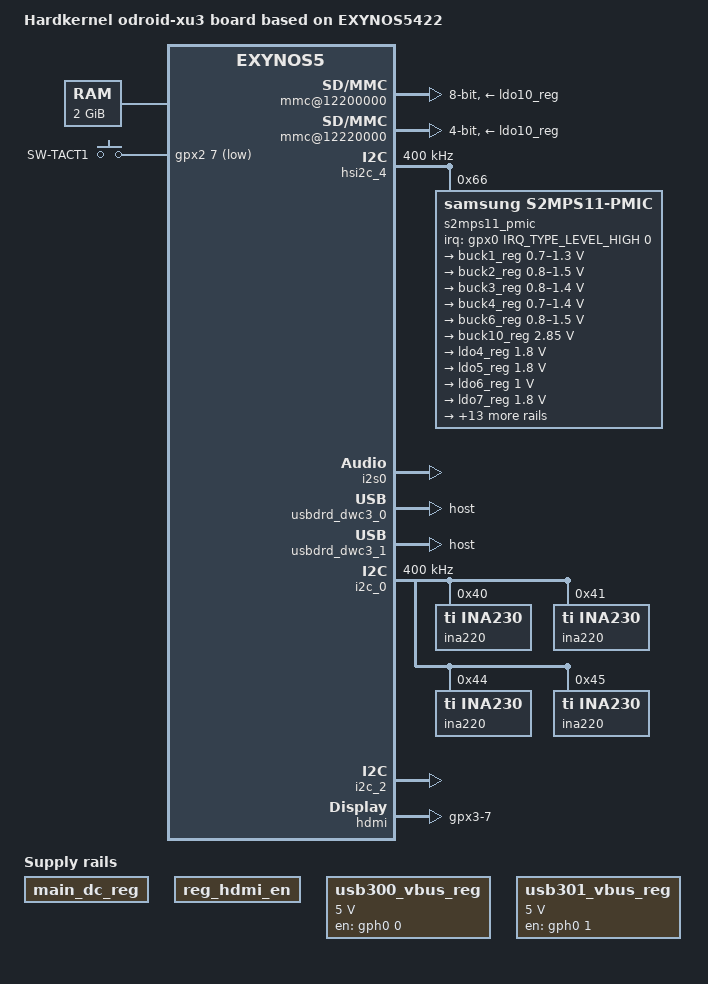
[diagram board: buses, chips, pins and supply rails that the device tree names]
/*
 * Samsung's Exynos5422 based Odroid XU3 device tree source
 *
 * Copyright (c) 2013 Samsung Electronics Co., Ltd.
 *		http://www.samsung.com
 *
 * This program is free software; you can redistribute it and/or modify
 * it under the terms of the GNU General Public License version 2 as
 * published by the Free Software Foundation.
*/

/dts-v1/;
#include "exynos5422.dtsi"
#include <dt-bindings/interrupt-controller/irq.h>
#include <dt-bindings/gpio/gpio.h>
#include <dt-bindings/input/input.h>
#include <dt-bindings/gpio/gpio.h>

/ {
	model = "Hardkernel odroid-xu3 board based on EXYNOS5422";
	compatible = "Hardkernel,odroid-xu3", "samsung,exynos5420", "samsung,exynos5";

	memory {
		reg = <0x20000000 0x80000000>;
	};

	chosen {
		bootargs = "console=ttySAC3,115200";
	};

	firmware@02073000 {
		compatible = "samsung,secure-firmware";
		reg = <0x02073000 0x1000>;
	};

	fixed-rate-clocks {
		oscclk {
			compatible = "samsung,exynos5420-oscclk";
			clock-frequency = <24000000>;
		};
	};

	regulators {
		compatible = "simple-bus";
		#address-cells = <1>;
		#size-cells = <0>;

		main_dc_reg: regulator@0 {
			compatible = "regulator-fixed";
			reg = <0>;
			regulator-name = "MAIN_DC";
		};

		reg_hdmi_en: regulator@1 {
			compatible = "regulator-fixed";
			reg = <2>;
			regulator-name = "hdmi-en";
		};
	};

	rtc@101E0000 {
		status = "okay";
	};

	codec@11000000 {
		samsung,mfc-r = <0x43000000 0x800000>;
		samsung,mfc-l = <0x51000000 0x800000>;
	};

	pinctrl@13400000 {
		hdmi_hpd_irq: hdmi-hpd-irq {
			samsung,pins = "gpx3-7";
			samsung,pin-function = <0>;
			samsung,pin-pud = <1>;
			samsung,pin-drv = <0>;
		};
	};

	mmc@12200000 {
		status = "okay";
		broken-cd;
		card-detect-delay = <200>;
		samsung,dw-mshc-ciu-div = <3>;
		samsung,dw-mshc-sdr-timing = <0 4>;
		samsung,dw-mshc-ddr-timing = <0 2>;
		pinctrl-names = "default";
		pinctrl-0 = <&sd0_clk &sd0_cmd &sd0_bus4 &sd0_bus8>;
		vmmc-supply = <&ldo10_reg>;
		bus-width = <8>;
		cap-mmc-highspeed;
		dw-mshc-hw-reset = <&gpd1 0 0>;
	};

	mmc@12220000 {
		status = "okay";
		card-detect-delay = <200>;
		samsung,dw-mshc-ciu-div = <3>;
		samsung,dw-mshc-sdr-timing = <2 3>;
		samsung,dw-mshc-ddr-timing = <1 2>;
		pinctrl-names = "default";
		pinctrl-0 = <&sd2_clk &sd2_cmd &sd2_cd &sd2_bus4>;
		vmmc-supply = <&ldo10_reg>;
		bus-width = <4>;
		cap-sd-highspeed;
	};

	usb300_vbus_reg: regulator-usb300 {
		compatible = "regulator-fixed";
		regulator-name = "P5.0V_USB3CON0";
		regulator-min-microvolt = <5000000>;
		regulator-max-microvolt = <5000000>;
		gpio = <&gph0 0 0>;
		pinctrl-names = "default";
		pinctrl-0 = <&usb300_vbus_en>;
		enable-active-high;
	};

	usb301_vbus_reg: regulator-usb301 {
		compatible = "regulator-fixed";
		regulator-name = "P5.0V_USB3CON1";
		regulator-min-microvolt = <5000000>;
		regulator-max-microvolt = <5000000>;
		gpio = <&gph0 1 0>;
		pinctrl-names = "default";
		pinctrl-0 = <&usb301_vbus_en>;
		enable-active-high;
	};


	pinctrl_0: pinctrl@13400000 {
		max98090_irq: max98090-irq {
			samsung,pins = "gpx0-2";
			samsung,pin-function = <0>;
			samsung,pin-pud = <0>;
			samsung,pin-drv = <0>;
		};

		tpm_irq: tpm-irq {
			samsung,pins = "gpx1-0";
			samsung,pin-function = <0>;
			samsung,pin-pud = <0>;
			samsung,pin-drv = <0>;
		};

		power_key_irq: power-key-irq {
			samsung,pins = "gpx1-2";
			samsung,pin-function = <0>;
			samsung,pin-pud = <0>;
			samsung,pin-drv = <0>;
		};

		hdmi_hpd_irq: hdmi-hpd-irq {
			samsung,pins = "gpx3-7";
			samsung,pin-function = <0>;
			samsung,pin-pud = <1>;
			samsung,pin-drv = <0>;
		};

		dp_hpd_gpio: dp_hpd_gpio {
			samsung,pins = "gpx2-6";
			samsung,pin-function = <0>;
			samsung,pin-pud = <3>;
			samsung,pin-drv = <0>;
		};
	};

	pinctrl_3: pinctrl@14010000 {
		usb300_vbus_en: usb300-vbus-en {
			samsung,pins = "gph0-0";
			samsung,pin-function = <1>;
			samsung,pin-pud = <0>;
			samsung,pin-drv = <0>;
		};

		usb301_vbus_en: usb301-vbus-en {
			samsung,pins = "gph0-1";
			samsung,pin-function = <1>;
			samsung,pin-pud = <0>;
			samsung,pin-drv = <0>;
		};
	};

	hsi2c_4: i2c@12CA0000 {
		samsung,hs-mode;
		clock-frequency = <400000>;
		status = "okay";

		s2mps11_pmic@66 {
			compatible = "samsung,s2mps11-pmic";
			reg = <0x66>;
			interrupts = <IRQ_TYPE_LEVEL_HIGH 0 0>;
			interrupt-parent = <&gpx0>;
			wtsr_smpl = <1>;
			s2mps11,buck2-ramp-delay = <12>;
			s2mps11,buck34-ramp-delay = <12>;
			s2mps11,buck16-ramp-delay = <12>;
			s2mps11,buck6-ramp-enable = <1>;
			s2mps11,buck2-ramp-enable = <1>;
			s2mps11,buck3-ramp-enable = <1>;
			s2mps11,buck4-ramp-enable = <1>;

			s2mps11_osc: clocks {
				#clock-cells = <1>;
				clock-output-names = "s2mps11_ap",
						"s2mps11_cp", "s2mps11_bt";
			};

			regulators {
				buck1_reg: BUCK1 {
					regulator-name = "PVDD_MIF_1V1";
					regulator-min-microvolt = <700000>;
					regulator-max-microvolt = <1300000>;
					regulator-always-on;
					regulator-boot-on;
					regulator-ramp-delay = <12000>;
					regulator-initial-mode = <1>;
				};

				buck2_reg: BUCK2 {
					regulator-name = "vdd_arm";
					regulator-min-microvolt = <800000>;
					regulator-max-microvolt = <1500000>;
					regulator-always-on;
					regulator-boot-on;
					regulator-ramp-delay = <12000>;
					regulator-initial-mode = <1>;
				};

				buck3_reg: BUCK3 {
					regulator-name = "PVDD_INT_1V0";
					regulator-min-microvolt = <800000>;
					regulator-max-microvolt = <1400000>;
					regulator-always-on;
					regulator-boot-on;
					regulator-ramp-delay = <12000>;
					regulator-initial-mode = <1>;
				};

				buck4_reg: BUCK4 {
					regulator-name = "PVDD_G3D_1V0";
					regulator-min-microvolt = <700000>;
					regulator-max-microvolt = <1400000>;
					regulator-always-on;
					regulator-boot-on;
					regulator-ramp-delay = <12000>;
					regulator-initial-mode = <1>;
				};

				buck6_reg: BUCK6 {
					regulator-name = "PVDD_KFC_1V0";
					regulator-min-microvolt = <800000>;
					regulator-max-microvolt = <1500000>;
					regulator-always-on;
					regulator-boot-on;
					regulator-ramp-delay = <12000>;
					regulator-initial-mode = <1>;
				};

				buck10_reg: BUCK10 {
					regulator-name = "PVDD_EMMCF_2V8";
					regulator-min-microvolt = <2850000>;
					regulator-max-microvolt = <2850000>;
					regulator-always-on;
					regulator-boot-on;
					regulator-ramp-delay = <12000>;
					regulator-initial-mode = <1>;
				};

				ldo4_reg: LDO4 {
					regulator-name = "PVDD_ADC_1V8";
					regulator-min-microvolt = <1800000>;
					regulator-max-microvolt = <1800000>;
					regulator-always-on;
					regulator-boot-on;
					regulator-ramp-delay = <12000>;
					regulator-initial-mode = <1>;
				};

				ldo5_reg: LDO5 {
					regulator-name = "PVDD_PLL_1V8";
					regulator-min-microvolt = <1800000>;
					regulator-max-microvolt = <1800000>;
					regulator-always-on;
					regulator-boot-on;
					regulator-ramp-delay = <12000>;
					regulator-initial-mode = <1>;
				};

				ldo6_reg: LDO6 {
					regulator-name = "PVDD_ANAIP_1V0";
					regulator-min-microvolt = <1000000>;
					regulator-max-microvolt = <1000000>;
					regulator-always-on;
					regulator-initial-mode = <1>;
				};

				ldo7_reg: LDO7 {
					regulator-name = "PVDD_ANAIP_1V8";
					regulator-min-microvolt = <1800000>;
					regulator-max-microvolt = <1800000>;
					regulator-always-on;
					regulator-boot-on;
					regulator-initial-mode = <1>;
				};

				ldo8_reg: LDO8 {
					regulator-name = "PVDD_ABB_1V8";
					regulator-min-microvolt = <1800000>;
					regulator-max-microvolt = <1800000>;
					regulator-always-on;
					regulator-boot-on;
					regulator-initial-mode = <1>;
				};

				ldo9_reg: LDO9 {
					regulator-name = "PVDD_USB_3V3";
					regulator-min-microvolt = <3300000>;
					regulator-max-microvolt = <3300000>;
					regulator-always-on;
					regulator-boot-on;
					regulator-initial-mode = <1>;
				};

				ldo10_reg: LDO10 {
					regulator-name = "PVDD_PRE_1V8";
					regulator-min-microvolt = <1800000>;
					regulator-max-microvolt = <1800000>;
					regulator-always-on;
					regulator-boot-on;
					regulator-initial-mode = <1>;
				};

				ldo11_reg: LDO11 {
					regulator-name = "PVDD_USB_1V0";
					regulator-min-microvolt = <1000000>;
					regulator-max-microvolt = <1000000>;
					regulator-always-on;
					regulator-boot-on;
					regulator-initial-mode = <1>;
				};

				ldo13_reg: LDO13 {
					regulator-name = "PVDD_APIO_MMCOFF_2V8";
					regulator-min-microvolt = <1800000>;
					regulator-max-microvolt = <3300000>;
					regulator-boot-on;
					regulator-ramp-delay = <12000>;
					regulator-initial-mode = <1>;
				};

				ldo15_reg: LDO15 {
					regulator-name = "PVDD_PERI_2V8";
					regulator-min-microvolt = <3300000>;
					regulator-max-microvolt = <3300000>;
					regulator-always-on;
					regulator-initial-mode = <1>;
				};

				ldo17_reg: LDO17 {
					regulator-name = "vdd_eth";
					regulator-min-microvolt = <3300000>;
					regulator-max-microvolt = <3300000>;
					regulator-always-on;
					regulator-initial-mode = <1>;
				};

				ldo18_reg: LDO18 {
					regulator-name = "PVDD_EMMC_1V8";
					regulator-min-microvolt = <1800000>;
					regulator-max-microvolt = <1800000>;
					regulator-always-on;
					regulator-boot-on;
					regulator-initial-mode = <1>;
				};

				ldo19_reg: LDO19 {
					regulator-name = "PVDD_TFLASH_2V8";
					regulator-min-microvolt = <2850000>;
					regulator-max-microvolt = <2850000>;
					regulator-always-on;
					regulator-initial-mode = <1>;
				};

				ldo23_reg: LDO23 {
					regulator-name = "PVDD_MIFS_1V1";
					regulator-min-microvolt = <800000>;
					regulator-max-microvolt = <1100000>;
					regulator-always-on;
					regulator-initial-mode = <1>;
					regulator-ramp-delay = <12000>;
				};

				ldo26_reg: LDO26 {
					regulator-name = "PVDD_CAM0_AF_2V8";
					regulator-min-microvolt = <3000000>;
					regulator-max-microvolt = <3000000>;
					regulator-always-on;
					regulator-initial-mode = <1>;
				};

				ldo27_reg: LDO27 {
					regulator-name = "PVDD_G3DS_1V0";
					regulator-min-microvolt = <800000>;
					regulator-max-microvolt = <1100000>;
					regulator-always-on;
					regulator-initial-mode = <1>;
					regulator-ramp-delay = <12000>;
				};

				ldo28_reg: LDO28 {
					regulator-name = "PVDD_TSP_3V3";
					regulator-min-microvolt = <3300000>;
					regulator-max-microvolt = <3300000>;
					regulator-always-on;
					regulator-initial-mode = <1>;
				};
			};
		};
	};

	usbdrd_phy0: phy@12100000 {
		vbus-supply = <&usb300_vbus_reg>;
	};

	usbdrd_phy1: phy@12500000 {
		vbus-supply = <&usb301_vbus_reg>;
	};

	fimd: fimd@14400000 {
		status = "okay";
	};

	gpio_keys {
		compatible = "gpio-keys";

		wakeup {
			label = "SW-TACT1";
			gpios = <&gpx2 7 1>;
			linux,code = <KEY_WAKEUP>;
			gpio-key,wakeup;
		};
	};

	i2s0: i2s@03830000 {
		status = "okay";
	};
};

&usbdrd_dwc3_0 {
	dr_mode = "host";
};

&usbdrd_dwc3_1 {
	dr_mode = "host";
};

&i2c_0 {
	status = "okay";
	clock-frequency = <400000>;

	ina220@40 {
		compatible = "ti,ina230";
		reg = <0x40>;
		shunt-resistor = <10000>;
	};

	ina220@41 {
		compatible = "ti,ina230";
		reg = <0x41>;
		shunt-resistor = <10000>;
	};

	ina220@44 {
		compatible = "ti,ina230";
		reg = <0x44>;
		shunt-resistor = <10000>;
	};

	ina220@45 {
		compatible = "ti,ina230";
		reg = <0x45>;
		shunt-resistor = <10000>;
	};
};

&i2c_2 {
	status = "okay";
	samsung,i2c-sda-delay = <100>;
	samsung,i2c-max-bus-freq = <66000>;
	samsung,i2c-slave-addr = <0x50>;
	samsung,i2c-max-bus-freq = <400000>;
};

&hdmi {
	status = "okay";
	hpd-gpio = <&gpx3 7 GPIO_ACTIVE_HIGH>;
	pinctrl-names = "default";
	pinctrl-0 = <&hdmi_hpd_irq>;
	ddc = <&i2c_2>;
	hdmi-en-supply = <&reg_hdmi_en>;
	vdd-supply = <&ldo8_reg>;
	vdd_osc-supply = <&ldo10_reg>;
	vdd_pll-supply = <&ldo8_reg>;
};
